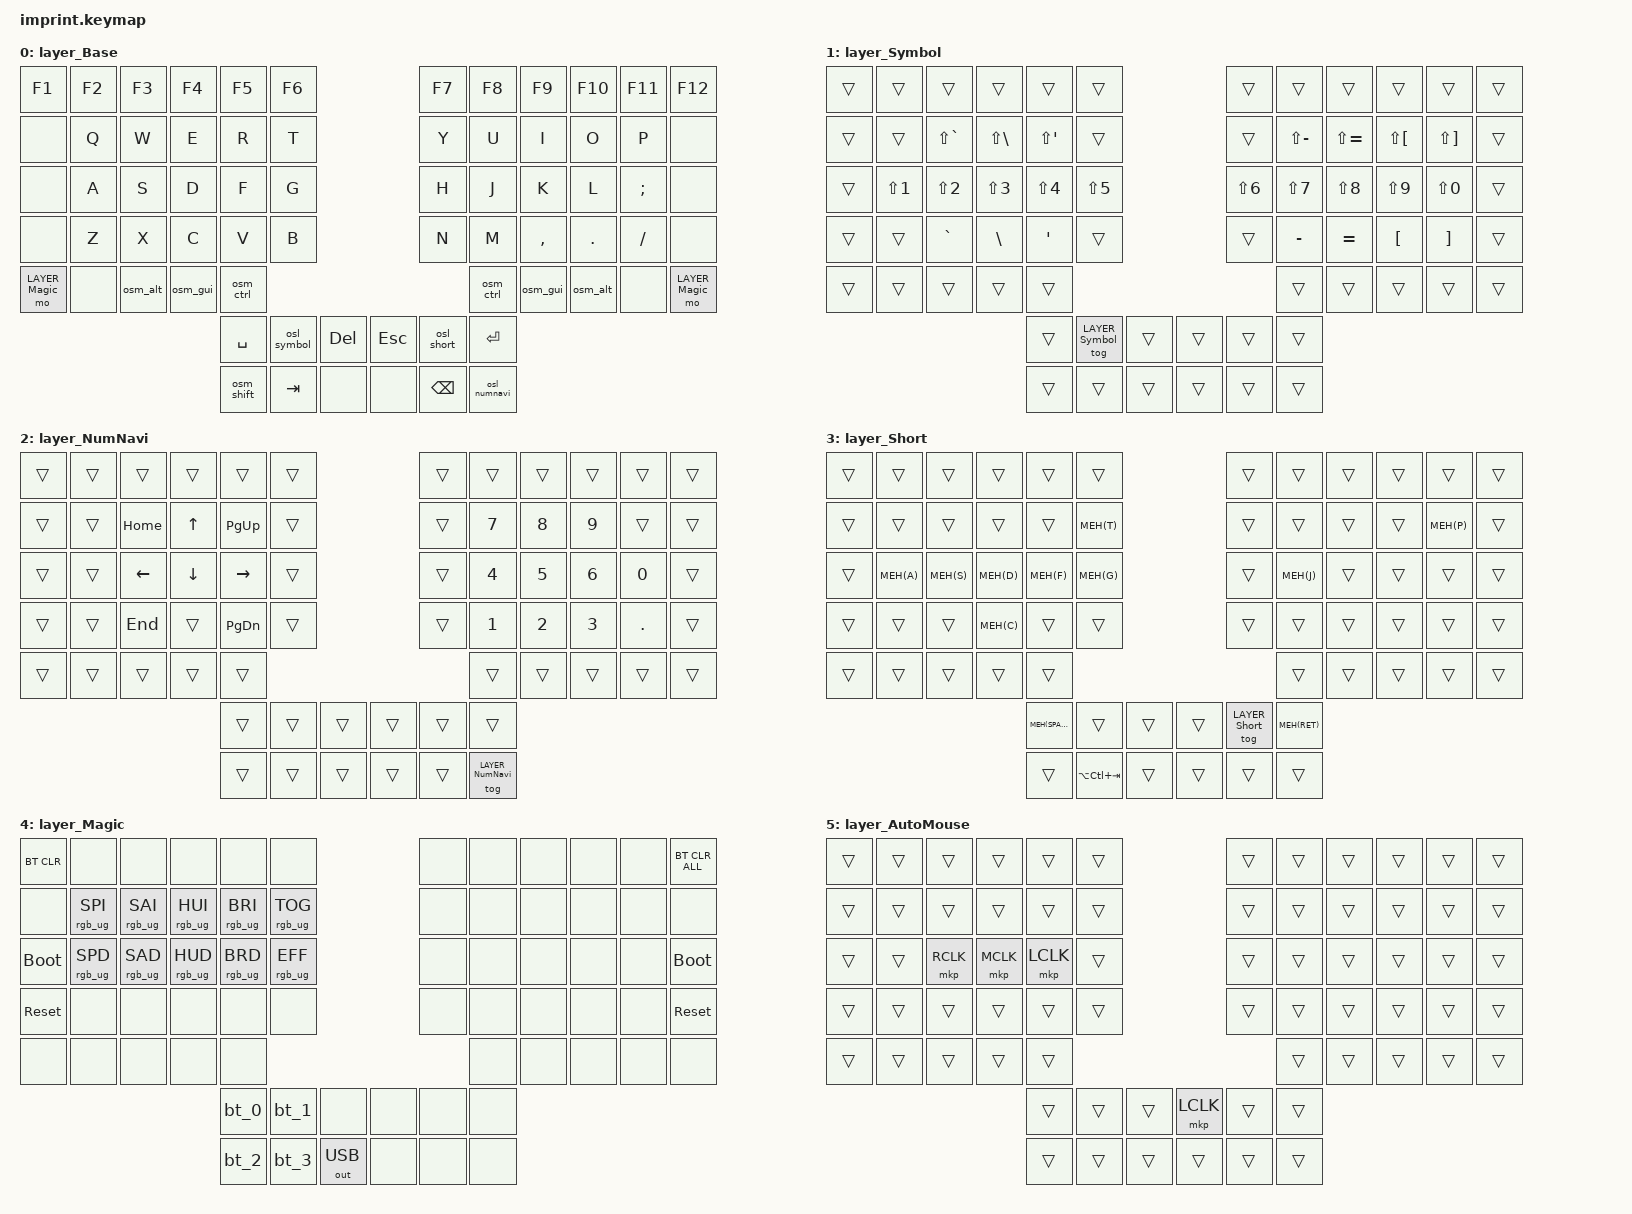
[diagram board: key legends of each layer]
#include <input/processors.dtsi>
#include <dt-bindings/zmk/input_transform.h>
#include <behaviors.dtsi>
#include <dt-bindings/zmk/bt.h>
#include <dt-bindings/zmk/keys.h>
#include <dt-bindings/zmk/outputs.h>
#include <dt-bindings/zmk/pointing.h>
#include <dt-bindings/zmk/rgb.h>


#define MEH(key) LA(LC(LS(key)))


// references to layers
#define LAYER_Base 0
#define LAYER_Symbol 1
#define LAYER_NumNavi 2
#define LAYER_Short 3
#define LAYER_Magic 4
#define LAYER_AutoMouse 5


// sticky key configuration
&sk {
    quick-release;
    lazy;
};


// Bluetooth:
// - one key to toggle the connection state of the selected device
// - set the output to bluetooth before choosing the device
/ {
    macros {
        bt_select: bt_select{
            label = "BT_SELECT";
            compatible = "zmk,behavior-macro-one-param";
            #binding-cells = <1>;
            bindings
                = <&out OUT_BLE>,
                  <&macro_param_1to2>,
                  <&bt BT_SEL MACRO_PLACEHOLDER>;
        };
    };
    behaviors {
        bt_0: bt_0 {
            compatible = "zmk,behavior-tap-dance";
            label = "BT_0";
            #binding-cells = <0>;
            tapping-term-ms = <200>;
            bindings = <&bt_select 0>, <&bt BT_DISC 0>;
        };
        bt_1: bt_1 {
            compatible = "zmk,behavior-tap-dance";
            label = "BT_1";
            #binding-cells = <0>;
            tapping-term-ms = <200>;
            bindings = <&bt_select 1>, <&bt BT_DISC 1>;
        };
        bt_2: bt_2 {
            compatible = "zmk,behavior-tap-dance";
            label = "BT_2";
            #binding-cells = <0>;
            tapping-term-ms = <200>;
            bindings = <&bt_select 2>, <&bt BT_DISC 2>;
        };
        bt_3: bt_3 {
            compatible = "zmk,behavior-tap-dance";
            label = "BT_3";
            #binding-cells = <0>;
            tapping-term-ms = <200>;
            bindings = <&bt_select 3>, <&bt BT_DISC 3>;
        };
    };
};


// One shot modifiers and layers
/ {
    behaviors {
        sticky_shift: sticky_shift {
            compatible = "zmk,behavior-mod-morph";
            #binding-cells = <0>;
            bindings = <&sk LSHIFT>, <&kt LSHIFT>;
            mods = <(MOD_LSFT|MOD_RSFT)>;
        };
        osm_shift: one_shot_mod_shift {
            compatible = "zmk,behavior-tap-dance";
            #binding-cells = <0>;
            tapping-term-ms = <200>;
            bindings = <&sticky_shift>, <&kt LSHIFT>;
        };
        sticky_ctrl: sticky_ctrl {
            compatible = "zmk,behavior-mod-morph";
            #binding-cells = <0>;
            bindings = <&sk LCTRL>, <&kt LCTRL>;
            mods = <(MOD_LCTL|MOD_RCTL)>;
        };
        osm_ctrl: one_shot_mod_ctrl {
            compatible = "zmk,behavior-tap-dance";
            #binding-cells = <0>;
            tapping-term-ms = <200>;
            bindings = <&sticky_ctrl>, <&kt LCTRL>;
        };
        sticky_alt: sticky_alt {
            compatible = "zmk,behavior-mod-morph";
            #binding-cells = <0>;
            bindings = <&sk LALT>, <&kt LALT>;
            mods = <(MOD_LALT|MOD_RALT)>;
        };
        osm_alt: one_shot_mod_alt {
            compatible = "zmk,behavior-tap-dance";
            #binding-cells = <0>;
            tapping-term-ms = <200>;
            bindings = <&sticky_alt>, <&kt LALT>;
        };
        sticky_gui: sticky_gui {
            compatible = "zmk,behavior-mod-morph";
            #binding-cells = <0>;
            bindings = <&sk LGUI>, <&kt LGUI>;
            mods = <(MOD_LGUI|MOD_RGUI)>;
        };
        osm_gui: one_shot_mod_gui {
            compatible = "zmk,behavior-tap-dance";
            #binding-cells = <0>;
            tapping-term-ms = <200>;
            bindings = <&sticky_gui>, <&kt LGUI>;
        };


        osl_symbol: one_shot_layer_symbol {
            compatible = "zmk,behavior-tap-dance";
            #binding-cells = <0>;
            tapping-term-ms = <200>;
            bindings = <&sl LAYER_Symbol>, <&to LAYER_Symbol>;
        };
        osl_numnavi: one_shot_layer_numnavi {
            compatible = "zmk,behavior-tap-dance";
            #binding-cells = <0>;
            tapping-term-ms = <200>;
            bindings = <&sl LAYER_NumNavi>, <&to LAYER_NumNavi>;
        };
        osl_short: one_shot_layer_short {
            compatible = "zmk,behavior-tap-dance";
            #binding-cells = <0>;
            tapping-term-ms = <200>;
            bindings = <&sl LAYER_Short>, <&to LAYER_Short>;
        };
    };
};


/ {
    chosen { zmk,physical-layout = &physical_layout_imprint_number_row_full_bottom_row; };

    keymap {
        compatible = "zmk,keymap";
        

        // layer formatting guide:
        // number of keys:
        // - each layer has 5 + 2 rows (5 rows of fingers, 2 rows of thumb)
        // - row 1 ~ 4 have 6 + 6 keys (6 left, 6 right)
        // - row 5 has 5 + 5 keys (5 left, 5 right)
        // - row 6, 7 have 3 + 3 keys (3 left, 3 right)
        // key alignment:
        // - columns should be vertically aligned
        // - two spaces should be between each key
        // - four spaces should be between the left and right side (column 1 ~ 3 and 4 ~ 6) of the thumb rows (row 6, 7)
        // - row 6 should be aligned with the start and the end of the fingers rows
        // - the first column of thumb rows (row 6, 7) should be aligned with the 5th column (the last of the left side) of row 5
        // - the last column of thumb rows (row 6, 7) should be aligned with the 6th column (the first of the right side) of row 5


        layer_Base {
            bindings = <
&kp F1           &kp F2  &kp F3    &kp F4    &kp F5      &kp F6                           &kp F7      &kp F8        &kp F9     &kp F10   &kp F11   &kp F12
&none            &kp Q   &kp W     &kp E     &kp R       &kp T                            &kp Y       &kp U         &kp I      &kp O     &kp P     &none
&none            &kp A   &kp S     &kp D     &kp F       &kp G                            &kp H       &kp J         &kp K      &kp L     &kp SEMI  &none
&none            &kp Z   &kp X     &kp C     &kp V       &kp B                            &kp N       &kp M         &kp COMMA  &kp DOT   &kp FSLH  &none
&mo LAYER_Magic  &none   &osm_alt  &osm_gui  &osm_ctrl                                                &osm_ctrl     &osm_gui   &osm_alt  &none     &mo LAYER_Magic
                                             &kp SPACE   &osl_symbol  &kp DEL    &kp ESC  &osl_short  &kp RET
                                             &osm_shift  &kp TAB      &none      &none    &kp BSPC    &osl_numnavi
            >;
        };

        layer_Symbol {
            bindings = <
&trans  &trans      &trans         &trans        &trans       &trans                               &trans      &trans         &trans         &trans        &trans        &trans
&trans  &trans      &kp LS(GRAVE)  &kp LS(BSLH)  &kp LS(SQT)  &trans                               &trans      &kp LS(MINUS)  &kp LS(EQUAL)  &kp LS(LBKT)  &kp LS(RBKT)  &trans
&trans  &kp LS(N1)  &kp LS(N2)     &kp LS(N3)    &kp LS(N4)   &kp LS(N5)                           &kp LS(N6)  &kp LS(N7)     &kp LS(N8)     &kp LS(N9)    &kp LS(N0)    &trans
&trans  &trans      &kp GRAVE      &kp BSLH      &kp SQT      &trans                               &trans      &kp MINUS      &kp EQUAL      &kp LBKT      &kp RBKT      &trans
&trans  &trans      &trans         &trans        &trans                                                        &trans         &trans         &trans        &trans        &trans
                                                 &trans       &tog LAYER_Symbol  &trans    &trans  &trans      &trans
                                                 &trans       &trans             &trans    &trans  &trans      &trans
            >;
        };

        layer_NumNavi {
            bindings = <
&trans  &trans  &trans          &trans          &trans           &trans                    &trans  &trans              &trans  &trans  &trans   &trans
&trans  &trans  &kp HOME        &kp UP_ARROW    &kp PG_UP        &trans                    &trans  &kp N7              &kp N8  &kp N9  &trans   &trans
&trans  &trans  &kp LEFT_ARROW  &kp DOWN_ARROW  &kp RIGHT_ARROW  &trans                    &trans  &kp N4              &kp N5  &kp N6  &kp N0   &trans
&trans  &trans  &kp END         &trans          &kp PG_DN        &trans                    &trans  &kp N1              &kp N2  &kp N3  &kp DOT  &trans
&trans  &trans  &trans          &trans          &trans                                             &trans              &trans  &trans  &trans   &trans
                                                &trans           &trans  &trans    &trans  &trans  &trans
                                                &trans           &trans  &trans    &trans  &trans  &tog LAYER_NumNavi
            >;
        };

        layer_Short {
            bindings = <
&trans  &trans      &trans      &trans      &trans          &trans                             &trans            &trans        &trans  &trans  &trans      &trans
&trans  &trans      &trans      &trans      &trans          &kp MEH(T)                         &trans            &trans        &trans  &trans  &kp MEH(P)  &trans
&trans  &kp MEH(A)  &kp MEH(S)  &kp MEH(D)  &kp MEH(F)      &kp MEH(G)                         &trans            &kp MEH(J)    &trans  &trans  &trans      &trans
&trans  &trans      &trans      &kp MEH(C)  &trans          &trans                             &trans            &trans        &trans  &trans  &trans      &trans
&trans  &trans      &trans      &trans      &trans                                                               &trans        &trans  &trans  &trans      &trans
                                            &kp MEH(SPACE)  &trans           &trans    &trans  &tog LAYER_Short  &kp MEH(RET)
                                            &trans          &kp LA(LC(TAB))  &trans    &trans  &trans            &trans
            >;
        };

        layer_Magic {
            bindings = <
&bt BT_CLR   &none            &none            &none            &none            &none                                    &none  &none  &none  &none  &none  &bt BT_CLR_ALL
&none        &rgb_ug RGB_SPI  &rgb_ug RGB_SAI  &rgb_ug RGB_HUI  &rgb_ug RGB_BRI  &rgb_ug RGB_TOG                          &none  &none  &none  &none  &none  &none
&bootloader  &rgb_ug RGB_SPD  &rgb_ug RGB_SAD  &rgb_ug RGB_HUD  &rgb_ug RGB_BRD  &rgb_ug RGB_EFF                          &none  &none  &none  &none  &none  &bootloader
&sys_reset   &none            &none            &none            &none            &none                                    &none  &none  &none  &none  &none  &sys_reset
&none        &none            &none            &none            &none                                                            &none  &none  &none  &none  &none
                                                                &bt_0            &bt_1            &none           &none   &none  &none
                                                                &bt_2            &bt_3            &out OUT_USB    &none   &none  &none
            >;
        };

        layer_AutoMouse {
            bindings = <
&trans  &trans  &trans     &trans     &trans     &trans                       &trans  &trans  &trans  &trans  &trans  &trans
&trans  &trans  &trans     &trans     &trans     &trans                       &trans  &trans  &trans  &trans  &trans  &trans
&trans  &trans  &mkp RCLK  &mkp MCLK  &mkp LCLK  &trans                       &trans  &trans  &trans  &trans  &trans  &trans
&trans  &trans  &trans     &trans     &trans     &trans                       &trans  &trans  &trans  &trans  &trans  &trans
&trans  &trans  &trans     &trans     &trans                                          &trans  &trans  &trans  &trans  &trans
                                      &trans     &trans  &trans    &mkp LCLK  &trans  &trans
                                      &trans     &trans  &trans    &trans     &trans  &trans
            >;
        };
    };
};


// right hand trackball configuration

&trackball_peripheral_listener {
    input-processors =
        // activate LAYER_AutoMouse within 500ms of the trackball moving
        <&zip_temp_layer LAYER_AutoMouse 500>;
};


//left hand trackball configuration

&trackball_central_listener {
    input-processors =
        // multiply sensitivity by 1, divide by 3 (make it slower for scrolling),
        <&zip_xy_scaler 1 3>,
        // make this trackball output scrolling events by default instead of cursor movement,
        <&zip_xy_to_scroll_mapper>,
        // invert horizontal scrolling so it becomes natural scrolling,
        <&zip_scroll_transform INPUT_TRANSFORM_X_INVERT>;
};
